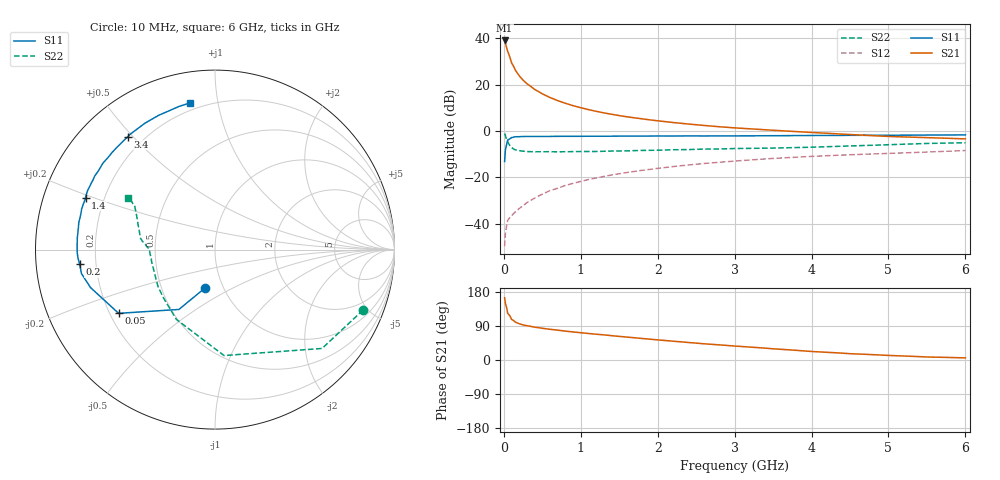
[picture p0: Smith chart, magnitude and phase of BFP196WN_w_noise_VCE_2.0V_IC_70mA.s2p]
! (c) 2017  Infineon Technologies AG, Munich
! Infineon Technologies  Discrete & RF Semiconductors
! BFP196WN
! VCE =  2.0 V,  IC =  70 mA
! Common Emitter S-Parameters:  Jan 2017
# GHz  S  MA  R  50
!  f  S11  S21  S12  S22
! GHz  MAG  ANG  MAG  ANG  MAG  ANG  MAG  ANG
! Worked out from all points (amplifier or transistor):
!   77 points, 10 MHz to 6 GHz, reference 50 ohm
!   highest |S21| = 39.1 dB at 10 MHz (marker M1)
!   |S21| within 3 dB of that: start of sweep to 35.53 MHz
!   unconditionally stable (mu >= 1): 493 MHz to 2.774 GHz
!   at 130 MHz: K = 0.67, MSG = 31.6 dB, |S12| = -35.4 dB
!   at 2.2 GHz: K = 1.02, MAG = 8.6 dB, |S12| = -15.3 dB
!   at 6 GHz: K = 0.94, MSG = 2.5 dB, |S12| = -8.4 dB
!   lowest NFmin = 1.47 dB at 450 MHz
!   S11 on the Smith chart (normalised r, x): 10 MHz: 0.82, -0.37; 50 MHz: 0.24, -0.29; 200 MHz: 0.14, -0.05; 1.4 GHz: 0.13, +0.19; 3.4 GHz: 0.14, +0.48; 6 GHz: 0.16, +0.83
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0.01  0.221 -104.6  90.28 164.2  0.0033 75.9  0.8912 -22.2
0.02  0.3895 -121.1  79.45 149.2  0.0061 69.9  0.812 -42.7
0.05  0.6437 -146.5  52.58 123.1  0.0119 50.3  0.5925 -85.1
0.1  0.7248 -163.0  29.87 107.0  0.0149 51.0  0.4447 -118.9
0.15  0.7558 -169.8  20.65 99.9  0.0182 54.2  0.3944 -136.3
0.2  0.7586 -173.9  15.62 95.7  0.0214 57.9  0.3797 -146.2
0.25  0.7648 -176.5  12.57 92.6  0.0247 61.4  0.3694 -152.3
0.3  0.7681 -178.9  10.53 90.4  0.0287 64.1  0.3629 -157.3
0.4  0.7685 177.7  7.936 86.6  0.0358 67.0  0.3591 -163.0
0.5  0.7699 175.2  6.358 83.7  0.0437 68.8  0.3591 -167.1
0.6  0.7698 172.8  5.312 81.0  0.0521 69.7  0.3599 -170.1
0.7  0.7711 170.7  4.55 78.8  0.0587 70.7  0.3579 -172.2
0.9  0.7727 166.7  3.538 74.0  0.0746 70.4  0.3615 -175.2
1.1  0.7764 163.2  2.91 70.0  0.0904 69.8  0.3633 -177.7
1.4  0.7772 158.1  2.313 64.2  0.1132 68.2  0.3715 179.6
1.7  0.7818 153.2  1.933 58.6  0.1354 66.2  0.3798 177.7
2.1  0.7845 147.1  1.6 51.4  0.1645 62.9  0.3921 175.4
3.1  0.7902 132.1  1.148 35.5  0.2321 53.7  0.423 170.2
3.4  0.7951 127.7  1.069 31.2  0.2512 51.1  0.4288 168.0
4.1  0.8056 117.9  0.917 21.4  0.2899 44.7  0.4555 160.8
5.1  0.8162 107.2  0.758 11.3  0.3351 36.9  0.5154 151.2
6  0.829 99.5  0.681 5.6  0.3813 30.8  0.5614 149.2
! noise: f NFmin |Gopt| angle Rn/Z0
0.45  1.47  0.57  -176  0.05
0.9  1.6  0.58  -169  0.06
1.9  2.54  0.7  -147  0.19
2.4  3.34  0.71  -139  0.32
